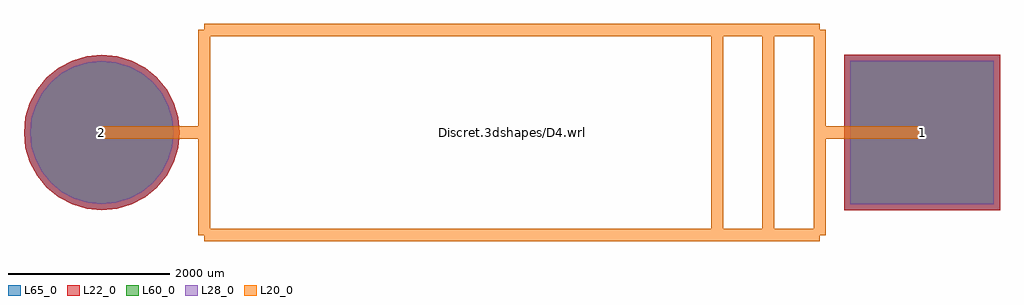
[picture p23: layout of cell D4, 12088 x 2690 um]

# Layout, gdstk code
import gdstk
lib = gdstk.Library(unit=1e-6, precision=1e-09)
def R(c, l, rs):  # rectangles x0, y0, x1, y1
    for r in rs: c.add(gdstk.rectangle(r[:2], r[2:], *l))
def P(c, l, *ps):  # polygons
    for p in ps: c.add(gdstk.Polygon(p, *l))
L20_0 = (20, 0)
L22_0 = (22, 0)
L28_0 = (28, 0)
L60_0 = (60, 0)
L65_0 = (65, 0)

c_d4 = lib.new_cell('D4')
R(c_d4, L22_0, [(4116,-964,6044,964)])
P(c_d4, L22_0, [(-4116,0),(-4134.523,188.067),(-4189.38,368.907),(-4278.463,535.57),(-4398.349,681.651),(-4544.43,801.537),(-4711.093,890.62),(-4891.933,945.477),(-5080,964),(-5268.067,945.477),(-5448.907,890.62),(-5615.57,801.537),(-5761.651,681.651),(-5881.537,535.57),(-5970.62,368.907),(-6025.477,188.067),(-6044,0),(-6025.477,-188.067),(-5970.62,-368.907),(-5881.537,-535.57),(-5761.651,-681.651),(-5615.57,-801.537),(-5448.907,-890.62),(-5268.067,-945.477),(-5080,-964),(-4891.933,-945.477),(-4711.093,-890.62),(-4544.43,-801.537),(-4398.349,-681.651),(-4278.463,-535.57),(-4189.38,-368.907),(-4134.523,-188.067)])
R(c_d4, L28_0, [(4191,-889,5969,889)])
P(c_d4, L28_0, [(-4191,0),(-4208.082,173.435),(-4258.671,340.206),(-4340.824,493.902),(-4451.382,628.618),(-4586.098,739.176),(-4739.794,821.329),(-4906.565,871.918),(-5080,889),(-5253.435,871.918),(-5420.206,821.329),(-5573.902,739.176),(-5708.618,628.618),(-5819.176,493.902),(-5901.329,340.206),(-5951.918,173.435),(-5969,0),(-5951.918,-173.435),(-5901.329,-340.206),(-5819.176,-493.902),(-5708.618,-628.618),(-5573.902,-739.176),(-5420.206,-821.329),(-5253.435,-871.918),(-5080,-889),(-4906.565,-871.918),(-4739.794,-821.329),(-4586.098,-739.176),(-4451.382,-628.618),(-4340.824,-493.902),(-4258.671,-340.206),(-4208.082,-173.435)])
R(c_d4, L60_0, [(4191,-889,5969,889)])
P(c_d4, L60_0, [(-4191,0),(-4208.082,173.435),(-4258.671,340.206),(-4340.824,493.902),(-4451.382,628.618),(-4586.098,739.176),(-4739.794,821.329),(-4906.565,871.918),(-5080,889),(-5253.435,871.918),(-5420.206,821.329),(-5573.902,739.176),(-5708.618,628.618),(-5819.176,493.902),(-5901.329,340.206),(-5951.918,173.435),(-5969,0),(-5951.918,-173.435),(-5901.329,-340.206),(-5819.176,-493.902),(-5708.618,-628.618),(-5573.902,-739.176),(-5420.206,-821.329),(-5253.435,-871.918),(-5080,-889),(-4906.565,-871.918),(-4739.794,-821.329),(-4586.098,-739.176),(-4451.382,-628.618),(-4340.824,-493.902),(-4258.671,-340.206),(-4208.082,-173.435)])
R(c_d4, L65_0, [(4116,-964,6044,964)])
P(c_d4, L65_0, [(-4116,0),(-4134.523,188.067),(-4189.38,368.907),(-4278.463,535.57),(-4398.349,681.651),(-4544.43,801.537),(-4711.093,890.62),(-4891.933,945.477),(-5080,964),(-5268.067,945.477),(-5448.907,890.62),(-5615.57,801.537),(-5761.651,681.651),(-5881.537,535.57),(-5970.62,368.907),(-6025.477,188.067),(-6044,0),(-6025.477,-188.067),(-5970.62,-368.907),(-5881.537,-535.57),(-5761.651,-681.651),(-5615.57,-801.537),(-5448.907,-890.62),(-5268.067,-945.477),(-5080,-964),(-4891.933,-945.477),(-4711.093,-890.62),(-4544.43,-801.537),(-4398.349,-681.651),(-4278.463,-535.57),(-4189.38,-368.907),(-4134.523,-188.067)])
c_d4.add(gdstk.FlexPath([(3810,0),(5080,0)], 149.998, ends="flush", simple_path=True, layer=20, datatype=0))  # L20_0
c_d4.add(gdstk.FlexPath([(-3810,0),(-5080,0)], 149.998, ends="flush", simple_path=True, layer=20, datatype=0))  # L20_0
c_d4.add(gdstk.FlexPath([(2540,-1270),(2540,1270)], 149.998, ends="flush", simple_path=True, layer=20, datatype=0))  # L20_0
c_d4.add(gdstk.FlexPath([(3175,1270),(3175,-1270)], 149.998, ends="flush", simple_path=True, layer=20, datatype=0))  # L20_0
c_d4.add(gdstk.FlexPath([(-3810,-1270),(-3810,1270)], 149.998, ends="flush", simple_path=True, layer=20, datatype=0))  # L20_0
c_d4.add(gdstk.FlexPath([(3810,-1270),(-3810,-1270)], 149.998, ends="flush", simple_path=True, layer=20, datatype=0))  # L20_0
c_d4.add(gdstk.FlexPath([(3810,1270),(3810,-1270)], 149.998, ends="flush", simple_path=True, layer=20, datatype=0))  # L20_0
c_d4.add(gdstk.FlexPath([(-3810,1270),(3810,1270)], 149.998, ends="flush", simple_path=True, layer=20, datatype=0))  # L20_0
c_d4.add(gdstk.Label('Discret.3dshapes/D4.wrl', (0,0), layer=12, texttype=0))
c_d4.add(gdstk.Label('1', (5080,0), layer=28, texttype=0))
c_d4.add(gdstk.Label('2', (-5080,0), layer=28, texttype=0))
c_d4.add(gdstk.Label('type', (0,0), layer=9, texttype=0))
c_d4.add(gdstk.Label('devicename', (0,0), layer=9, texttype=0))

lib.write_gds('D4.gds')
